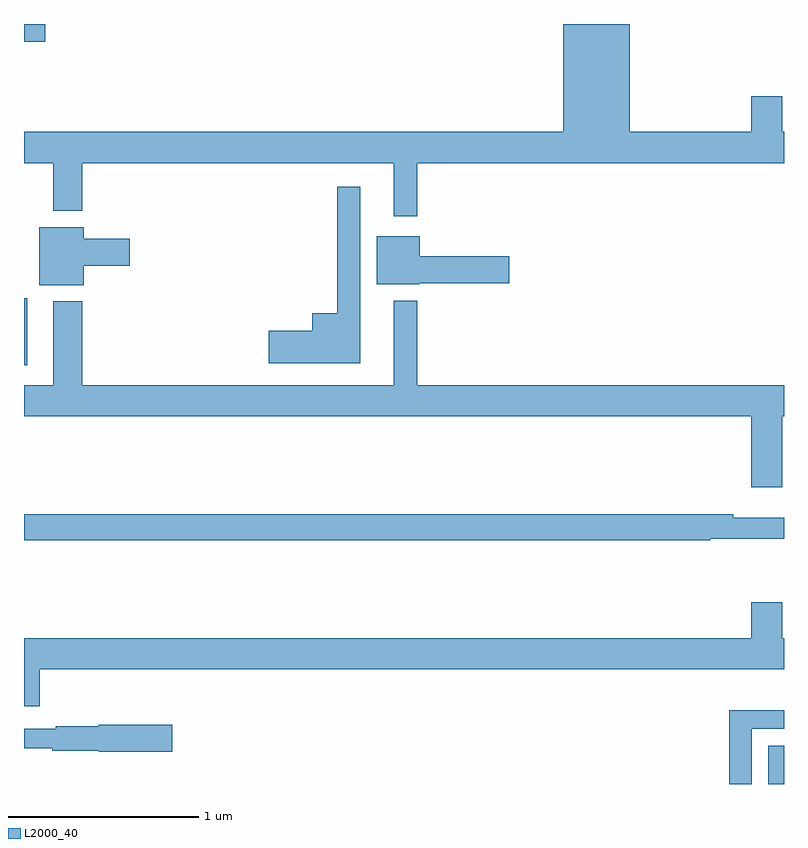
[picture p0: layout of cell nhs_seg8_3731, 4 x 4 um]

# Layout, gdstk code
import gdstk
lib = gdstk.Library(unit=1e-6, precision=1e-09)
def R(c, l, rs):  # rectangles x0, y0, x1, y1
    for r in rs: c.add(gdstk.rectangle(r[:2], r[2:], *l))
def P(c, l, *ps):  # polygons
    for p in ps: c.add(gdstk.Polygon(p, *l))
L2000_40 = (2000, 40)

nhs_seg8_3731 = lib.new_cell('nhs_seg8_3731')
R(nhs_seg8_3731, L2000_40, [(344.918,1111.9,345,1112.101), (341,1114.104,341.017,1114.456), (341,1115.806,341.113,1115.9)])
P(nhs_seg8_3731, L2000_40, [(343.069,1115.168),(345,1115.168),(345,1115.332),(344.992,1115.332),(344.992,1115.521),(344.828,1115.521),(344.828,1115.332),(344.188,1115.332),(344.188,1115.9),(343.838,1115.9),(343.838,1115.332),(341,1115.332),(341,1115.168),(341.153,1115.168),(341.153,1114.916),(341.306,1114.916),(341.306,1115.168),(342.947,1115.168),(342.947,1114.887),(343.069,1114.887)],
  [(342.769,1115.044),(342.648,1115.044),(342.648,1114.378),(342.518,1114.378),(342.518,1114.286),(342.288,1114.286),(342.288,1114.115),(342.769,1114.115)],
  [(341.314,1114.628),(341.557,1114.628),(341.557,1114.77),(341.314,1114.77),(341.314,1114.831),(341.081,1114.831),(341.081,1114.526),(341.314,1114.526)],
  [(343.08,1114.535),(343.555,1114.535),(343.555,1114.677),(343.084,1114.677),(343.084,1114.783),(342.857,1114.783),(342.857,1114.529),(343.08,1114.529)],
  [(344.992,1113.836),(345,1113.836),(345,1114),(343.069,1114),(343.069,1114.444),(342.947,1114.444),(342.947,1114),(341.306,1114),(341.306,1114.441),(341.153,1114.441),(341.153,1114),(341,1114),(341,1113.836),(344.828,1113.836),(344.828,1113.462),(344.992,1113.462)],
  [(344.612,1113.192),(345,1113.192),(345,1113.301),(344.732,1113.301),(344.732,1113.32),(341,1113.32),(341,1113.184),(344.612,1113.184)],
  [(341.084,1112.504),(345,1112.504),(345,1112.668),(344.992,1112.668),(344.992,1112.857),(344.828,1112.857),(344.828,1112.668),(341,1112.668),(341,1112.31),(341.084,1112.31)],
  [(344.829,1112.19),(345,1112.19),(345,1112.288),(344.713,1112.288),(344.713,1111.9),(344.829,1111.9)],
  [(341.779,1112.211),(341.394,1112.211),(341.394,1112.203),(341.167,1112.203),(341.167,1112.19),(341,1112.19),(341,1112.089),(341.148,1112.089),(341.148,1112.074),(341.394,1112.074),(341.394,1112.069),(341.779,1112.069)])

lib.write_gds('nhs_seg8_3731.gds')
